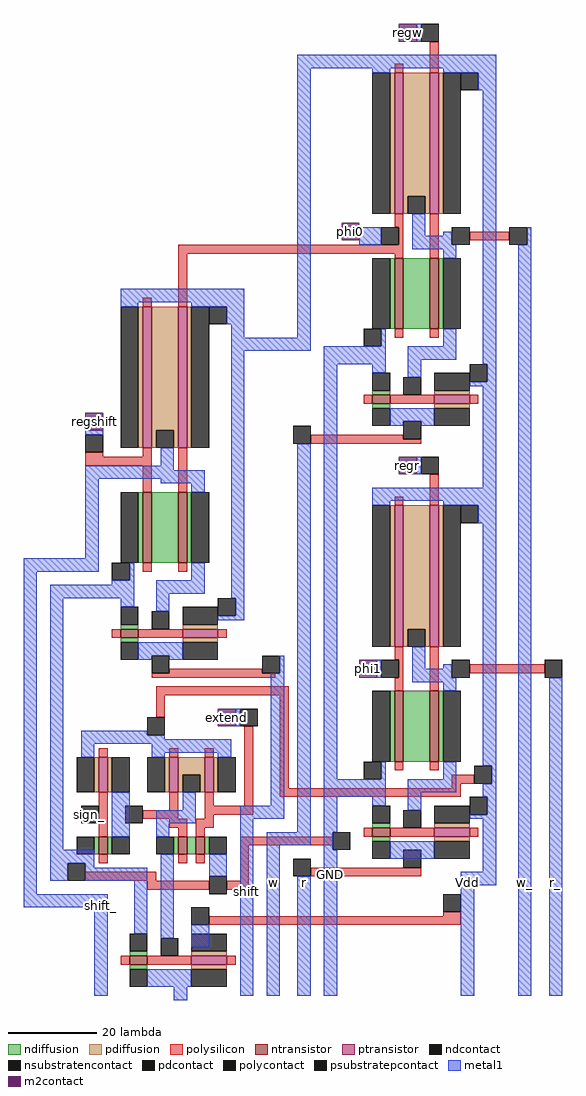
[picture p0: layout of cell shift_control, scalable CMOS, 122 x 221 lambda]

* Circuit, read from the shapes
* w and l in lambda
.subckt shift_control GND Vdd extend phi0 phi1 r r_ regr regshift regw shift shift_ sign_ w w_
M1 inverter_1/out sign_ GND GND nfet w=4 l=2
M2 GND shift_ shift GND nfet w=4 l=2
M3 GND n1 inverter_2/out GND nfet w=4 l=2
M4 n2 regshift GND GND nfet w=16 l=2
M5 n3 inverter_1/out n1 GND nfet w=4 l=2
M6 shift_ phi0 n2 GND nfet w=16 l=2
M7 GND extend n3 GND nfet w=4 l=2
M8 GND r_ r GND nfet w=4 l=2
M9 GND w_ w GND nfet w=4 l=2
M10 n4 phi1 GND GND nfet w=16 l=2
M11 n5 phi0 GND GND nfet w=16 l=2
M12 r_ regr n4 GND nfet w=16 l=2
M13 w_ regw n5 GND nfet w=16 l=2
M14 inverter_1/out sign_ Vdd Vdd pfet w=8 l=2
M15 shift_ regshift Vdd Vdd pfet w=32 l=2
M16 n1 inverter_1/out Vdd Vdd pfet w=8 l=2
M17 Vdd phi0 shift_ Vdd pfet w=32 l=2
M18 Vdd shift_ shift Vdd pfet w=8 l=2
M19 Vdd n1 inverter_2/out Vdd pfet w=8 l=2
M20 Vdd extend n1 Vdd pfet w=8 l=2
M21 r_ phi1 Vdd Vdd pfet w=32 l=2
M22 w_ phi0 Vdd Vdd pfet w=32 l=2
M23 Vdd regr r_ Vdd pfet w=32 l=2
M24 Vdd regw w_ Vdd pfet w=32 l=2
M25 Vdd r_ r Vdd pfet w=8 l=2
M26 Vdd w_ w Vdd pfet w=8 l=2
.ends

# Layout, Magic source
magic
tech scmos
<< polysilicon >>
rect 120 183 122 185
rect 128 183 130 190
rect 120 148 122 151
rect 121 144 122 148
rect 71 142 122 144
rect 63 130 65 132
rect 71 130 73 142
rect 120 141 122 142
rect 128 141 130 151
rect 137 145 146 147
rect 120 123 122 125
rect 128 123 130 125
rect 113 108 115 110
rect 119 108 129 110
rect 137 108 139 110
rect 101 100 122 101
rect 101 99 126 100
rect 50 96 54 97
rect 63 96 65 98
rect 50 94 65 96
rect 63 88 65 94
rect 71 88 73 98
rect 120 85 122 87
rect 128 85 130 92
rect 63 70 65 72
rect 71 70 73 72
rect 56 55 58 57
rect 62 55 72 57
rect 80 55 82 57
rect 69 47 90 48
rect 120 50 122 53
rect 65 46 93 47
rect 121 46 122 50
rect 66 42 96 44
rect 120 43 122 46
rect 128 43 130 53
rect 137 47 154 49
rect 66 37 68 42
rect 69 28 71 30
rect 77 28 79 30
rect 69 16 71 20
rect 63 14 71 16
rect 77 17 79 20
rect 86 17 88 35
rect 94 21 96 42
rect 120 25 122 27
rect 128 25 130 27
rect 133 22 138 24
rect 133 21 135 22
rect 94 19 135 21
rect 77 15 88 17
rect 77 14 79 15
rect 69 12 73 14
rect 71 10 73 12
rect 75 12 79 14
rect 75 10 77 12
rect 85 8 106 10
rect 71 4 73 6
rect 75 4 77 6
rect 50 0 66 2
rect 64 -2 78 0
rect 85 0 87 8
rect 101 1 126 3
rect 82 -2 87 0
rect 131 -8 135 -7
rect 78 -10 135 -8
<< ndiffusion >>
rect 119 125 120 141
rect 122 125 128 141
rect 130 125 131 141
rect 115 110 119 111
rect 115 107 119 108
rect 62 72 63 88
rect 65 72 71 88
rect 73 72 74 88
rect 58 57 62 58
rect 58 54 62 55
rect 119 27 120 43
rect 122 27 128 43
rect 130 27 131 43
rect 70 6 71 10
rect 73 6 75 10
rect 77 6 78 10
<< pdiffusion >>
rect 119 151 120 183
rect 122 155 128 183
rect 122 151 123 155
rect 127 151 128 155
rect 130 151 131 183
rect 62 98 63 130
rect 65 102 71 130
rect 65 98 66 102
rect 70 98 71 102
rect 73 98 74 130
rect 129 110 137 111
rect 129 107 137 108
rect 72 57 80 58
rect 72 54 80 55
rect 119 53 120 85
rect 122 57 128 85
rect 122 53 123 57
rect 127 53 128 57
rect 130 53 131 85
rect 68 20 69 28
rect 71 24 77 28
rect 71 20 72 24
rect 76 20 77 24
rect 79 20 80 28
<< metal1 >>
rect 125 190 126 194
rect 98 184 143 187
rect 58 131 86 134
rect 58 130 62 131
rect 50 101 54 102
rect 74 130 86 131
rect 82 126 86 130
rect 83 123 86 126
rect 98 123 101 184
rect 115 183 119 184
rect 131 183 143 184
rect 139 179 143 183
rect 112 144 117 148
rect 124 146 127 151
rect 131 146 133 147
rect 124 144 133 146
rect 124 143 134 144
rect 131 141 134 143
rect 83 120 101 123
rect 117 121 118 125
rect 131 121 134 125
rect 67 94 70 98
rect 50 93 70 94
rect 50 91 77 93
rect 50 73 53 91
rect 67 90 77 91
rect 74 88 77 90
rect 36 70 53 73
rect 36 -3 39 70
rect 60 68 61 72
rect 74 68 77 72
rect 56 67 61 68
rect 42 64 61 67
rect 42 7 45 64
rect 58 62 61 64
rect 66 65 77 68
rect 66 61 69 65
rect 83 64 86 120
rect 104 117 118 121
rect 84 60 86 64
rect 80 59 86 60
rect 62 51 72 54
rect 62 50 65 51
rect 69 50 72 51
rect 94 47 95 51
rect 49 33 64 34
rect 84 35 85 39
rect 49 32 68 33
rect 49 31 83 32
rect 49 28 52 31
rect 65 29 83 31
rect 65 28 68 29
rect 80 28 83 29
rect 72 16 75 20
rect 92 17 95 47
rect 66 13 75 16
rect 85 14 95 17
rect 66 10 69 13
rect 42 4 52 7
rect 42 0 46 4
rect 50 3 52 4
rect 50 0 64 3
rect 36 -6 55 -3
rect 52 -26 55 -6
rect 61 -12 64 0
rect 67 -13 70 6
rect 78 1 82 6
rect 74 -15 78 -10
rect 70 -27 73 -23
rect 85 -26 88 14
rect 98 11 101 99
rect 91 8 101 11
rect 104 23 107 117
rect 115 115 118 117
rect 123 118 134 121
rect 123 114 126 118
rect 140 117 143 179
rect 150 144 151 148
rect 141 113 143 117
rect 137 112 143 113
rect 119 104 129 107
rect 119 103 122 104
rect 126 103 129 104
rect 125 92 126 96
rect 140 89 143 112
rect 115 86 143 89
rect 115 85 119 86
rect 131 85 143 86
rect 139 81 143 85
rect 116 46 117 50
rect 124 48 127 53
rect 131 48 133 49
rect 124 46 133 48
rect 124 45 134 46
rect 131 43 134 45
rect 117 23 118 27
rect 131 23 134 27
rect 140 26 143 81
rect 104 19 118 23
rect 104 11 107 19
rect 115 17 118 19
rect 123 20 134 23
rect 142 22 143 26
rect 123 16 126 20
rect 140 19 143 22
rect 141 15 143 19
rect 137 14 143 15
rect 91 -26 94 8
rect 104 7 106 11
rect 98 -26 101 1
rect 104 -26 107 7
rect 140 2 143 14
rect 135 -1 143 2
rect 135 -26 138 -1
rect 148 -26 151 144
rect 155 -26 158 46
<< ntransistor >>
rect 120 125 122 141
rect 128 125 130 141
rect 115 108 119 110
rect 63 72 65 88
rect 71 72 73 88
rect 58 55 62 57
rect 120 27 122 43
rect 128 27 130 43
rect 71 6 73 10
rect 75 6 77 10
<< ptransistor >>
rect 120 151 122 183
rect 128 151 130 183
rect 63 98 65 130
rect 71 98 73 130
rect 129 108 137 110
rect 72 55 80 57
rect 120 53 122 85
rect 128 53 130 85
rect 69 20 71 28
rect 77 20 79 28
<< polycontact >>
rect 126 190 130 194
rect 117 144 121 148
rect 133 144 137 148
rect 146 144 150 148
rect 50 97 54 101
rect 122 110 126 114
rect 97 99 101 103
rect 122 100 126 104
rect 126 92 130 96
rect 65 57 69 61
rect 65 47 69 51
rect 90 47 94 51
rect 117 46 121 50
rect 133 46 137 50
rect 154 46 158 50
rect 64 33 68 37
rect 85 35 89 39
rect 49 13 53 17
rect 59 13 63 17
rect 138 22 142 26
rect 122 12 126 16
rect 46 0 50 4
rect 78 -3 82 1
rect 106 7 110 11
rect 97 1 101 5
rect 122 3 126 7
rect 74 -10 78 -6
rect 131 -7 135 -3
rect 67 -17 71 -13
<< ndcontact >>
rect 115 125 119 141
rect 131 125 135 141
rect 115 111 119 115
rect 115 103 119 107
rect 58 72 62 88
rect 74 72 78 88
rect 58 58 62 62
rect 58 50 62 54
rect 115 27 119 43
rect 131 27 135 43
rect 66 6 70 10
rect 78 6 82 10
<< pdcontact >>
rect 115 151 119 183
rect 123 151 127 155
rect 131 151 135 183
rect 58 98 62 130
rect 66 98 70 102
rect 74 98 78 130
rect 129 111 137 115
rect 129 103 137 107
rect 72 58 80 62
rect 72 50 80 54
rect 115 53 119 85
rect 123 53 127 57
rect 131 53 135 85
rect 64 20 68 28
rect 72 20 76 24
rect 80 20 84 28
<< m2contact >>
rect 121 190 125 194
rect 50 102 54 106
rect 108 145 112 149
rect 80 35 84 39
rect 121 92 125 96
rect 112 46 116 50
<< psubstratepcontact >>
rect 113 121 117 125
rect 56 68 60 72
rect 113 23 117 27
<< nsubstratencontact >>
rect 135 179 139 183
rect 78 126 82 130
rect 137 113 141 117
rect 80 60 84 64
rect 135 81 139 85
rect 137 15 141 19
use inverter  inverter_1
transform 1 0 53 0 1 -1
box -5 5 7 31
use inverter  inverter_0
transform 0 1 108 -1 0 12
box -5 5 7 31
use inverter  inverter_2
transform 0 1 53 -1 0 -17
box -5 5 7 31
<< labels >>
rlabel metal1 104 0 107 3 1 GND
rlabel m2contact 112 46 116 50 1 phi1
rlabel m2contact 121 92 125 96 1 regr
rlabel m2contact 121 190 125 194 5 regw
rlabel metal1 135 -2 138 1 1 Vdd
rlabel metal1 98 -2 101 1 1 r
rlabel metal1 91 -2 94 1 1 w
rlabel metal1 148 -2 151 1 1 w_
rlabel metal1 155 -2 158 1 7 r_
rlabel m2contact 80 35 84 39 1 extend
rlabel polycontact 49 13 53 17 3 sign_
rlabel m2contact 108 145 112 149 1 phi0
rlabel metal1 85 -4 88 -1 1 shift
rlabel metal1 52 -7 55 -4 1 shift_
rlabel m2contact 50 102 54 106 1 regshift
<< end >>

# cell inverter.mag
magic
tech scmos
<< polysilicon >>
rect 0 29 2 31
rect 0 11 2 21
rect 0 5 2 7
<< ndiffusion >>
rect -1 7 0 11
rect 2 7 3 11
<< pdiffusion >>
rect -1 21 0 29
rect 2 21 3 29
<< metal1 >>
rect 3 11 7 21
<< ntransistor >>
rect 0 7 2 11
<< ptransistor >>
rect 0 21 2 29
<< ndcontact >>
rect -5 7 -1 11
rect 3 7 7 11
<< pdcontact >>
rect -5 21 -1 29
rect 3 21 7 29
<< labels >>
rlabel metal1 5 16 5 16 7 out
<< end >>
